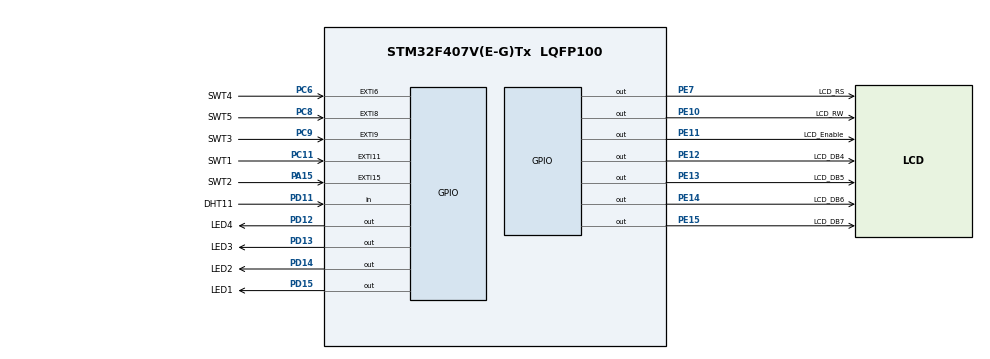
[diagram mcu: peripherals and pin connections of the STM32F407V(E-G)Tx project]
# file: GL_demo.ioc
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Mcu.Family=STM32F4
Mcu.Name=STM32F407V(E-G)Tx
Mcu.Package=LQFP100
NVIC.EXTI15_10_IRQn=true\:0\:0\:false\:false\:true\:true\:true
NVIC.EXTI9_5_IRQn=true\:0\:0\:false\:false\:true\:true\:true
NVIC.PriorityGroup=NVIC_PRIORITYGROUP_4
PA13.Mode=Trace_Asynchronous_SW
PA13.Signal=SYS_JTMS-SWDIO
PA14.Mode=Trace_Asynchronous_SW
PA14.Signal=SYS_JTCK-SWCLK
PA15.GPIO_Label=SWT2
PA15.GPIO_PuPd=GPIO_PULLUP
PA15.Signal=GPXTI15
PB3.Mode=Trace_Asynchronous_SW
PB3.Signal=SYS_JTDO-SWO
PC11.GPIO_Label=SWT1
PC11.GPIO_PuPd=GPIO_PULLUP
PC11.Signal=GPXTI11
PC14-OSC32_IN.Mode=LSE-External-Oscillator
PC14-OSC32_IN.Signal=RCC_OSC32_IN
PC15-OSC32_OUT.Mode=LSE-External-Oscillator
PC15-OSC32_OUT.Signal=RCC_OSC32_OUT
PC6.GPIO_Label=SWT4
PC6.GPIO_PuPd=GPIO_PULLUP
PC6.Signal=GPXTI6
PC8.GPIO_Label=SWT5
PC8.GPIO_PuPd=GPIO_PULLUP
PC8.Signal=GPXTI8
PC9.GPIO_Label=SWT3
PC9.GPIO_PuPd=GPIO_PULLUP
PC9.Signal=GPXTI9
PD11.GPIO_Label=DHT11
PD11.Signal=GPIO_Input
PD12.GPIO_Label=LED4
PD12.Signal=GPIO_Output
PD13.GPIO_Label=LED3
PD13.Signal=GPIO_Output
PD14.GPIO_Label=LED2
PD14.Signal=GPIO_Output
PD15.GPIO_Label=LED1
PD15.Signal=GPIO_Output
PE10.GPIO_Label=LCD_RW
PE10.Signal=GPIO_Output
PE11.GPIO_Label=LCD_Enable
PE11.Signal=GPIO_Output
PE12.GPIO_Label=LCD_DB4
PE12.Signal=GPIO_Output
PE13.GPIO_Label=LCD_DB5
PE13.Signal=GPIO_Output
PE14.GPIO_Label=LCD_DB6
PE14.Signal=GPIO_Output
PE15.GPIO_Label=LCD_DB7
PE15.Signal=GPIO_Output
PE7.GPIO_Label=LCD_RS
PE7.Signal=GPIO_Output
PH0-OSC_IN.Mode=HSE-External-Oscillator
PH0-OSC_IN.Signal=RCC_OSC_IN
PH1-OSC_OUT.Mode=HSE-External-Oscillator
PH1-OSC_OUT.Signal=RCC_OSC_OUT
ProjectManager.HeapSize=0x200
ProjectManager.StackSize=0x400
ProjectManager.TargetToolchain=STM32CubeIDE
RCC.48MHZClocksFreq_Value=84000000
RCC.AHBFreq_Value=168000000
RCC.APB1CLKDivider=RCC_HCLK_DIV4
RCC.APB1Freq_Value=42000000
RCC.APB1TimFreq_Value=84000000
RCC.APB2CLKDivider=RCC_HCLK_DIV2
RCC.APB2Freq_Value=84000000
RCC.APB2TimFreq_Value=168000000
RCC.CortexFreq_Value=168000000
RCC.HCLKFreq_Value=168000000
RCC.HSE_VALUE=25000000
RCC.HSI_VALUE=16000000
RCC.PLLM=8
RCC.PLLN=168
RCC.SYSCLKFreq_VALUE=168000000
RCC.SYSCLKSource=RCC_SYSCLKSOURCE_PLLCLK
RCC.VCOOutputFreq_Value=336000000
board=custom

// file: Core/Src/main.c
/* USER CODE BEGIN Header */
/**
  ******************************************************************************
  * @file           : main.c
  * @brief          : Main program body
  ******************************************************************************
  * @attention
  *
  * <h2><center>&copy; Copyright (c) 2021 STMicroelectronics.
  * All rights reserved.</center></h2>
  *
  * This software component is licensed by ST under BSD 3-Clause license,
  * the "License"; You may not use this file except in compliance with the
  * License. You may obtain a copy of the License at:
  *                        opensource.org/licenses/BSD-3-Clause
  *
  ******************************************************************************
  */
/* USER CODE END Header */
#include "main.h"

/* USER CODE BEGIN Includes */
#include "lcd.h"
#include "dht11.h"
/* USER CODE END Includes */

/* USER CODE BEGIN PD */
#define LED1_ON()  LL_GPIO_SetOutputPin(GPIOD, LED1_Pin)
#define LED2_ON()  LL_GPIO_SetOutputPin(GPIOD, LED2_Pin)
#define LED3_ON()  LL_GPIO_SetOutputPin(GPIOD, LED3_Pin)
#define LED4_ON()  LL_GPIO_SetOutputPin(GPIOD, LED4_Pin)

#define LED1_OFF() LL_GPIO_ResetOutputPin(GPIOD, LED1_Pin)
#define LED2_OFF() LL_GPIO_ResetOutputPin(GPIOD, LED2_Pin)
#define LED3_OFF() LL_GPIO_ResetOutputPin(GPIOD, LED3_Pin)
#define LED4_OFF() LL_GPIO_ResetOutputPin(GPIOD, LED4_Pin)
/* USER CODE END PD */

void SystemClock_Config(void);
static void MX_GPIO_Init(void);

int main(void)
{

  /* MCU Configuration--------------------------------------------------------*/

  /* Reset of all peripherals, Initializes the Flash interface and the Systick. */

  LL_APB2_GRP1_EnableClock(LL_APB2_GRP1_PERIPH_SYSCFG);
  LL_APB1_GRP1_EnableClock(LL_APB1_GRP1_PERIPH_PWR);

  NVIC_SetPriorityGrouping(NVIC_PRIORITYGROUP_4);

  /* System interrupt init*/
  /* SysTick_IRQn interrupt configuration */
  NVIC_SetPriority(SysTick_IRQn, NVIC_EncodePriority(NVIC_GetPriorityGrouping(),15, 0));

  /* Configure the system clock */
  SystemClock_Config();

  /* Initialize all configured peripherals */
  MX_GPIO_Init();
  /* USER CODE BEGIN 2 */
  LCD_init();

  DHT_sensor sensor;	// Init dht11 struct
  sensor.DHT_Pin = DHT11_Pin;
  sensor.DHT_Port = DHT11_GPIO_Port;
  sensor.type = DHT11;
  sensor.pullUp = 1;

  DHT_data result;		// Result DHT11
  /* USER CODE END 2 */

  /* Infinite loop */
  /* USER CODE BEGIN WHILE */
  LCD_SetPos(0, 0);
  LCD_String("KHAI Demo");

  while (1)
  {
    /* USER CODE END WHILE */

    /* USER CODE BEGIN 3 */
	  LL_mDelay(1000);
	  LED1_OFF();
	  LED2_OFF();
	  LED3_OFF();
	  LED4_OFF();
	  LL_mDelay(1000);

	  result = DHT_getData(&sensor);
	  char res[20];
	  sprintf (res, "Hum:%d Temp:%d", (int)result.hum, (int)result.temp);
	  LCD_SetPos(0, 1);
	  LCD_String(res);

  }
  /* USER CODE END 3 */
}

void SystemClock_Config(void)
{
  LL_FLASH_SetLatency(LL_FLASH_LATENCY_5);
  while(LL_FLASH_GetLatency()!= LL_FLASH_LATENCY_5)
  {
  }
  LL_PWR_SetRegulVoltageScaling(LL_PWR_REGU_VOLTAGE_SCALE1);
  LL_RCC_HSI_SetCalibTrimming(16);
  LL_RCC_HSI_Enable();

   /* Wait till HSI is ready */
  while(LL_RCC_HSI_IsReady() != 1)
  {

  }
  LL_RCC_PLL_ConfigDomain_SYS(LL_RCC_PLLSOURCE_HSI, LL_RCC_PLLM_DIV_8, 168, LL_RCC_PLLP_DIV_2);
  LL_RCC_PLL_Enable();

   /* Wait till PLL is ready */
  while(LL_RCC_PLL_IsReady() != 1)
  {

  }
  LL_RCC_SetAHBPrescaler(LL_RCC_SYSCLK_DIV_1);
  LL_RCC_SetAPB1Prescaler(LL_RCC_APB1_DIV_4);
  LL_RCC_SetAPB2Prescaler(LL_RCC_APB2_DIV_2);
  LL_RCC_SetSysClkSource(LL_RCC_SYS_CLKSOURCE_PLL);

   /* Wait till System clock is ready */
  while(LL_RCC_GetSysClkSource() != LL_RCC_SYS_CLKSOURCE_STATUS_PLL)
  {

  }
  LL_Init1msTick(168000000);
  LL_SetSystemCoreClock(168000000);
}

static void MX_GPIO_Init(void)
{
  LL_EXTI_InitTypeDef EXTI_InitStruct = {0};
  LL_GPIO_InitTypeDef GPIO_InitStruct = {0};

  /* GPIO Ports Clock Enable */
  LL_AHB1_GRP1_EnableClock(LL_AHB1_GRP1_PERIPH_GPIOC);
  LL_AHB1_GRP1_EnableClock(LL_AHB1_GRP1_PERIPH_GPIOH);
  LL_AHB1_GRP1_EnableClock(LL_AHB1_GRP1_PERIPH_GPIOE);
  LL_AHB1_GRP1_EnableClock(LL_AHB1_GRP1_PERIPH_GPIOD);
  LL_AHB1_GRP1_EnableClock(LL_AHB1_GRP1_PERIPH_GPIOA);
  LL_AHB1_GRP1_EnableClock(LL_AHB1_GRP1_PERIPH_GPIOB);

  /**/
  LL_GPIO_ResetOutputPin(GPIOE, LCD_RS_Pin|LCD_RW_Pin|LCD_Enable_Pin|LCD_DB4_Pin
                          |LCD_DB5_Pin|LCD_DB6_Pin|LCD_DB7_Pin);

  /**/
  LL_GPIO_ResetOutputPin(GPIOD, LED4_Pin|LED3_Pin|LED2_Pin|LED1_Pin);

  /**/
  GPIO_InitStruct.Pin = LCD_RS_Pin|LCD_RW_Pin|LCD_Enable_Pin|LCD_DB4_Pin
                          |LCD_DB5_Pin|LCD_DB6_Pin|LCD_DB7_Pin;
  GPIO_InitStruct.Mode = LL_GPIO_MODE_OUTPUT;
  GPIO_InitStruct.Speed = LL_GPIO_SPEED_FREQ_LOW;
  GPIO_InitStruct.OutputType = LL_GPIO_OUTPUT_PUSHPULL;
  GPIO_InitStruct.Pull = LL_GPIO_PULL_NO;
  LL_GPIO_Init(GPIOE, &GPIO_InitStruct);

  /**/
  GPIO_InitStruct.Pin = DHT11_Pin;
  GPIO_InitStruct.Mode = LL_GPIO_MODE_INPUT;
  GPIO_InitStruct.Pull = LL_GPIO_PULL_NO;
  LL_GPIO_Init(DHT11_GPIO_Port, &GPIO_InitStruct);

  /**/
  GPIO_InitStruct.Pin = LED4_Pin|LED3_Pin|LED2_Pin|LED1_Pin;
  GPIO_InitStruct.Mode = LL_GPIO_MODE_OUTPUT;
  GPIO_InitStruct.Speed = LL_GPIO_SPEED_FREQ_LOW;
  GPIO_InitStruct.OutputType = LL_GPIO_OUTPUT_PUSHPULL;
  GPIO_InitStruct.Pull = LL_GPIO_PULL_NO;
  LL_GPIO_Init(GPIOD, &GPIO_InitStruct);

  /**/
  LL_SYSCFG_SetEXTISource(LL_SYSCFG_EXTI_PORTC, LL_SYSCFG_EXTI_LINE6);

  /**/
  LL_SYSCFG_SetEXTISource(LL_SYSCFG_EXTI_PORTC, LL_SYSCFG_EXTI_LINE8);

  /**/
  LL_SYSCFG_SetEXTISource(LL_SYSCFG_EXTI_PORTC, LL_SYSCFG_EXTI_LINE9);

  /**/
  LL_SYSCFG_SetEXTISource(LL_SYSCFG_EXTI_PORTA, LL_SYSCFG_EXTI_LINE15);

  /**/
  LL_SYSCFG_SetEXTISource(LL_SYSCFG_EXTI_PORTC, LL_SYSCFG_EXTI_LINE11);

  /**/
  EXTI_InitStruct.Line_0_31 = LL_EXTI_LINE_6;
  EXTI_InitStruct.LineCommand = ENABLE;
  EXTI_InitStruct.Mode = LL_EXTI_MODE_IT;
  EXTI_InitStruct.Trigger = LL_EXTI_TRIGGER_RISING;
  LL_EXTI_Init(&EXTI_InitStruct);

  /**/
  EXTI_InitStruct.Line_0_31 = LL_EXTI_LINE_8;
  EXTI_InitStruct.LineCommand = ENABLE;
  EXTI_InitStruct.Mode = LL_EXTI_MODE_IT;
  EXTI_InitStruct.Trigger = LL_EXTI_TRIGGER_RISING;
  LL_EXTI_Init(&EXTI_InitStruct);

  /**/
  EXTI_InitStruct.Line_0_31 = LL_EXTI_LINE_9;
  EXTI_InitStruct.LineCommand = ENABLE;
  EXTI_InitStruct.Mode = LL_EXTI_MODE_IT;
  EXTI_InitStruct.Trigger = LL_EXTI_TRIGGER_RISING;
  LL_EXTI_Init(&EXTI_InitStruct);

  /**/
  EXTI_InitStruct.Line_0_31 = LL_EXTI_LINE_15;
  EXTI_InitStruct.LineCommand = ENABLE;
  EXTI_InitStruct.Mode = LL_EXTI_MODE_IT;
  EXTI_InitStruct.Trigger = LL_EXTI_TRIGGER_RISING;
  LL_EXTI_Init(&EXTI_InitStruct);

  /**/
  EXTI_InitStruct.Line_0_31 = LL_EXTI_LINE_11;
  EXTI_InitStruct.LineCommand = ENABLE;
  EXTI_InitStruct.Mode = LL_EXTI_MODE_IT;
  EXTI_InitStruct.Trigger = LL_EXTI_TRIGGER_RISING;
  LL_EXTI_Init(&EXTI_InitStruct);

  /**/
  LL_GPIO_SetPinPull(SWT4_GPIO_Port, SWT4_Pin, LL_GPIO_PULL_UP);

  /**/
  LL_GPIO_SetPinPull(SWT5_GPIO_Port, SWT5_Pin, LL_GPIO_PULL_UP);

  /**/
  LL_GPIO_SetPinPull(SWT3_GPIO_Port, SWT3_Pin, LL_GPIO_PULL_UP);

  /**/
  LL_GPIO_SetPinPull(SWT2_GPIO_Port, SWT2_Pin, LL_GPIO_PULL_UP);

  /**/
  LL_GPIO_SetPinPull(SWT1_GPIO_Port, SWT1_Pin, LL_GPIO_PULL_UP);

  /**/
  LL_GPIO_SetPinMode(SWT4_GPIO_Port, SWT4_Pin, LL_GPIO_MODE_INPUT);

  /**/
  LL_GPIO_SetPinMode(SWT5_GPIO_Port, SWT5_Pin, LL_GPIO_MODE_INPUT);

  /**/
  LL_GPIO_SetPinMode(SWT3_GPIO_Port, SWT3_Pin, LL_GPIO_MODE_INPUT);

  /**/
  LL_GPIO_SetPinMode(SWT2_GPIO_Port, SWT2_Pin, LL_GPIO_MODE_INPUT);

  /**/
  LL_GPIO_SetPinMode(SWT1_GPIO_Port, SWT1_Pin, LL_GPIO_MODE_INPUT);

  /* EXTI interrupt init*/
  NVIC_SetPriority(EXTI9_5_IRQn, NVIC_EncodePriority(NVIC_GetPriorityGrouping(),0, 0));
  NVIC_EnableIRQ(EXTI9_5_IRQn);
  NVIC_SetPriority(EXTI15_10_IRQn, NVIC_EncodePriority(NVIC_GetPriorityGrouping(),0, 0));
  NVIC_EnableIRQ(EXTI15_10_IRQn);

}

/* USER CODE BEGIN 4 */

//SWT1 Button callback
void SWT1_Callback()
{
	  LED1_ON();
}

//SWT2 Button callback
void SWT2_Callback()
{
	  LED2_ON();
}

//SWT3 Button callback
void SWT3_Callback()
{
	  LED3_ON();
}

//SWT4 Button callback
void SWT4_Callback()
{
	  LED4_ON();
}

//SWT5 Button callback
void SWT5_Callback()
{
	  LED1_ON();
	  LED2_ON();
	  LED3_ON();
	  LED4_ON();
}
/* USER CODE END 4 */

void Error_Handler(void)
{
  __disable_irq();
  while (1)
  {
  }
}

/************************ (C) COPYRIGHT STMicroelectronics *****END OF FILE****/
